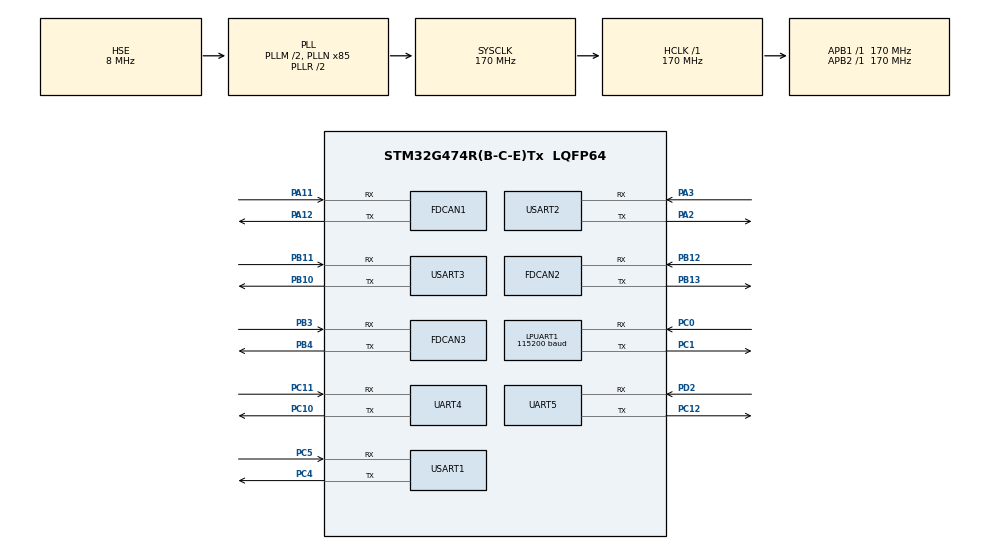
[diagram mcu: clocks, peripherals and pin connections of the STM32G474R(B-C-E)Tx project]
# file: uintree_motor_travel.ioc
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Dma.LPUART1_RX.2.Direction=DMA_PERIPH_TO_MEMORY
Dma.LPUART1_RX.2.EventEnable=DISABLE
Dma.LPUART1_RX.2.Instance=DMA1_Channel5
Dma.LPUART1_RX.2.MemDataAlignment=DMA_MDATAALIGN_BYTE
Dma.LPUART1_RX.2.MemInc=DMA_MINC_ENABLE
Dma.LPUART1_RX.2.Mode=DMA_NORMAL
Dma.LPUART1_RX.2.PeriphDataAlignment=DMA_PDATAALIGN_BYTE
Dma.LPUART1_RX.2.PeriphInc=DMA_PINC_DISABLE
Dma.LPUART1_RX.2.Polarity=HAL_DMAMUX_REQ_GEN_RISING
Dma.LPUART1_RX.2.Priority=DMA_PRIORITY_LOW
Dma.LPUART1_RX.2.RequestNumber=1
Dma.LPUART1_RX.2.SignalID=NONE
Dma.LPUART1_RX.2.SyncEnable=DISABLE
Dma.LPUART1_RX.2.SyncPolarity=HAL_DMAMUX_SYNC_NO_EVENT
Dma.LPUART1_RX.2.SyncRequestNumber=1
Dma.LPUART1_RX.2.SyncSignalID=NONE
Dma.LPUART1_TX.3.Direction=DMA_MEMORY_TO_PERIPH
Dma.LPUART1_TX.3.EventEnable=DISABLE
Dma.LPUART1_TX.3.Instance=DMA1_Channel6
Dma.LPUART1_TX.3.MemDataAlignment=DMA_MDATAALIGN_BYTE
Dma.LPUART1_TX.3.MemInc=DMA_MINC_ENABLE
Dma.LPUART1_TX.3.Mode=DMA_NORMAL
Dma.LPUART1_TX.3.PeriphDataAlignment=DMA_PDATAALIGN_BYTE
Dma.LPUART1_TX.3.PeriphInc=DMA_PINC_DISABLE
Dma.LPUART1_TX.3.Polarity=HAL_DMAMUX_REQ_GEN_RISING
Dma.LPUART1_TX.3.Priority=DMA_PRIORITY_LOW
Dma.LPUART1_TX.3.RequestNumber=1
Dma.LPUART1_TX.3.SignalID=NONE
Dma.LPUART1_TX.3.SyncEnable=DISABLE
Dma.LPUART1_TX.3.SyncPolarity=HAL_DMAMUX_SYNC_NO_EVENT
Dma.LPUART1_TX.3.SyncRequestNumber=1
Dma.LPUART1_TX.3.SyncSignalID=NONE
Dma.Request0=USART1_RX
Dma.Request1=USART1_TX
Dma.Request2=LPUART1_RX
Dma.Request3=LPUART1_TX
Dma.Request4=UART5_RX
Dma.Request5=USART3_RX
Dma.Request6=USART3_TX
Dma.UART5_RX.4.Direction=DMA_PERIPH_TO_MEMORY
Dma.UART5_RX.4.EventEnable=DISABLE
Dma.UART5_RX.4.Instance=DMA1_Channel1
Dma.UART5_RX.4.MemDataAlignment=DMA_MDATAALIGN_BYTE
Dma.UART5_RX.4.MemInc=DMA_MINC_ENABLE
Dma.UART5_RX.4.Mode=DMA_NORMAL
Dma.UART5_RX.4.PeriphDataAlignment=DMA_PDATAALIGN_BYTE
Dma.UART5_RX.4.PeriphInc=DMA_PINC_DISABLE
Dma.UART5_RX.4.Polarity=HAL_DMAMUX_REQ_GEN_RISING
Dma.UART5_RX.4.Priority=DMA_PRIORITY_LOW
Dma.UART5_RX.4.RequestNumber=1
Dma.UART5_RX.4.SignalID=NONE
Dma.UART5_RX.4.SyncEnable=DISABLE
Dma.UART5_RX.4.SyncPolarity=HAL_DMAMUX_SYNC_NO_EVENT
Dma.UART5_RX.4.SyncRequestNumber=1
Dma.UART5_RX.4.SyncSignalID=NONE
Dma.USART1_RX.0.Direction=DMA_PERIPH_TO_MEMORY
Dma.USART1_RX.0.EventEnable=DISABLE
Dma.USART1_RX.0.Instance=DMA1_Channel3
Dma.USART1_RX.0.MemDataAlignment=DMA_MDATAALIGN_BYTE
Dma.USART1_RX.0.MemInc=DMA_MINC_ENABLE
Dma.USART1_RX.0.Mode=DMA_NORMAL
Dma.USART1_RX.0.PeriphDataAlignment=DMA_PDATAALIGN_BYTE
Dma.USART1_RX.0.PeriphInc=DMA_PINC_DISABLE
Dma.USART1_RX.0.Polarity=HAL_DMAMUX_REQ_GEN_RISING
Dma.USART1_RX.0.Priority=DMA_PRIORITY_LOW
Dma.USART1_RX.0.RequestNumber=1
Dma.USART1_RX.0.SignalID=NONE
Dma.USART1_RX.0.SyncEnable=DISABLE
Dma.USART1_RX.0.SyncPolarity=HAL_DMAMUX_SYNC_NO_EVENT
Dma.USART1_RX.0.SyncRequestNumber=1
Dma.USART1_RX.0.SyncSignalID=NONE
Dma.USART1_TX.1.Direction=DMA_MEMORY_TO_PERIPH
Dma.USART1_TX.1.EventEnable=DISABLE
Dma.USART1_TX.1.Instance=DMA1_Channel4
Dma.USART1_TX.1.MemDataAlignment=DMA_MDATAALIGN_BYTE
Dma.USART1_TX.1.MemInc=DMA_MINC_ENABLE
Dma.USART1_TX.1.Mode=DMA_NORMAL
Dma.USART1_TX.1.PeriphDataAlignment=DMA_PDATAALIGN_BYTE
Dma.USART1_TX.1.PeriphInc=DMA_PINC_DISABLE
Dma.USART1_TX.1.Polarity=HAL_DMAMUX_REQ_GEN_RISING
Dma.USART1_TX.1.Priority=DMA_PRIORITY_LOW
Dma.USART1_TX.1.RequestNumber=1
Dma.USART1_TX.1.SignalID=NONE
Dma.USART1_TX.1.SyncEnable=DISABLE
Dma.USART1_TX.1.SyncPolarity=HAL_DMAMUX_SYNC_NO_EVENT
Dma.USART1_TX.1.SyncRequestNumber=1
Dma.USART1_TX.1.SyncSignalID=NONE
Dma.USART3_RX.5.Direction=DMA_PERIPH_TO_MEMORY
Dma.USART3_RX.5.EventEnable=DISABLE
Dma.USART3_RX.5.Instance=DMA1_Channel2
Dma.USART3_RX.5.MemDataAlignment=DMA_MDATAALIGN_BYTE
Dma.USART3_RX.5.MemInc=DMA_MINC_ENABLE
Dma.USART3_RX.5.Mode=DMA_NORMAL
Dma.USART3_RX.5.PeriphDataAlignment=DMA_PDATAALIGN_BYTE
Dma.USART3_RX.5.PeriphInc=DMA_PINC_DISABLE
Dma.USART3_RX.5.Polarity=HAL_DMAMUX_REQ_GEN_RISING
Dma.USART3_RX.5.Priority=DMA_PRIORITY_LOW
Dma.USART3_RX.5.RequestNumber=1
Dma.USART3_RX.5.SignalID=NONE
Dma.USART3_RX.5.SyncEnable=DISABLE
Dma.USART3_RX.5.SyncPolarity=HAL_DMAMUX_SYNC_NO_EVENT
Dma.USART3_RX.5.SyncRequestNumber=1
Dma.USART3_RX.5.SyncSignalID=NONE
Dma.USART3_TX.6.Direction=DMA_MEMORY_TO_PERIPH
Dma.USART3_TX.6.EventEnable=DISABLE
Dma.USART3_TX.6.Instance=DMA1_Channel7
Dma.USART3_TX.6.MemDataAlignment=DMA_MDATAALIGN_BYTE
Dma.USART3_TX.6.MemInc=DMA_MINC_ENABLE
Dma.USART3_TX.6.Mode=DMA_NORMAL
Dma.USART3_TX.6.PeriphDataAlignment=DMA_PDATAALIGN_BYTE
Dma.USART3_TX.6.PeriphInc=DMA_PINC_DISABLE
Dma.USART3_TX.6.Polarity=HAL_DMAMUX_REQ_GEN_RISING
Dma.USART3_TX.6.Priority=DMA_PRIORITY_LOW
Dma.USART3_TX.6.RequestNumber=1
Dma.USART3_TX.6.SignalID=NONE
Dma.USART3_TX.6.SyncEnable=DISABLE
Dma.USART3_TX.6.SyncPolarity=HAL_DMAMUX_SYNC_NO_EVENT
Dma.USART3_TX.6.SyncRequestNumber=1
Dma.USART3_TX.6.SyncSignalID=NONE
FDCAN1.CalculateBaudRateNominal=1000000
FDCAN1.CalculateTimeBitNominal=1000
FDCAN1.CalculateTimeQuantumNominal=100.0
FDCAN1.DataPrescaler=8
FDCAN1.DataTimeSeg1=10
FDCAN1.DataTimeSeg2=5
FDCAN1.NominalPrescaler=17
FDCAN1.NominalTimeSeg1=6
FDCAN1.NominalTimeSeg2=3
FDCAN2.CalculateBaudRateNominal=1000000
FDCAN2.CalculateTimeBitNominal=1000
FDCAN2.CalculateTimeQuantumNominal=100.0
FDCAN2.DataPrescaler=8
FDCAN2.DataTimeSeg1=10
FDCAN2.DataTimeSeg2=5
FDCAN2.NominalPrescaler=17
FDCAN2.NominalTimeSeg1=6
FDCAN2.NominalTimeSeg2=3
FDCAN3.CalculateBaudRateNominal=1000000
FDCAN3.CalculateTimeBitNominal=1000
FDCAN3.CalculateTimeQuantumNominal=100.0
FDCAN3.DataPrescaler=8
FDCAN3.DataTimeSeg1=10
FDCAN3.DataTimeSeg2=5
FDCAN3.NominalPrescaler=17
FDCAN3.NominalTimeSeg1=6
FDCAN3.NominalTimeSeg2=3
LPUART1.BaudRate=115200
Mcu.Family=STM32G4
Mcu.Name=STM32G474R(B-C-E)Tx
Mcu.Package=LQFP64
NVIC.DMA1_Channel1_IRQn=true\:0\:0\:false\:false\:true\:false\:true\:true
NVIC.DMA1_Channel2_IRQn=true\:0\:0\:false\:false\:true\:false\:true\:true
NVIC.DMA1_Channel3_IRQn=true\:0\:0\:false\:false\:true\:false\:true\:true
NVIC.DMA1_Channel4_IRQn=true\:0\:0\:false\:false\:true\:false\:true\:true
NVIC.DMA1_Channel5_IRQn=true\:0\:0\:false\:false\:true\:false\:true\:true
NVIC.DMA1_Channel6_IRQn=true\:0\:0\:false\:false\:true\:false\:true\:true
NVIC.DMA1_Channel7_IRQn=true\:0\:0\:false\:false\:true\:false\:true\:true
NVIC.FDCAN1_IT0_IRQn=true\:0\:0\:false\:false\:true\:true\:true\:true
NVIC.FDCAN1_IT1_IRQn=true\:0\:0\:false\:false\:true\:true\:true\:true
NVIC.FDCAN2_IT0_IRQn=true\:0\:0\:false\:false\:true\:true\:true\:true
NVIC.FDCAN2_IT1_IRQn=true\:0\:0\:false\:false\:true\:true\:true\:true
NVIC.FDCAN3_IT0_IRQn=true\:0\:0\:false\:false\:true\:true\:true\:true
NVIC.FDCAN3_IT1_IRQn=true\:0\:0\:false\:false\:true\:true\:true\:true
NVIC.LPUART1_IRQn=true\:0\:0\:false\:false\:true\:true\:true\:true
NVIC.PriorityGroup=NVIC_PRIORITYGROUP_4
NVIC.UART4_IRQn=true\:0\:0\:false\:false\:true\:true\:true\:true
NVIC.UART5_IRQn=true\:0\:0\:false\:false\:true\:true\:true\:true
NVIC.USART1_IRQn=true\:0\:0\:false\:false\:true\:true\:true\:true
NVIC.USART2_IRQn=true\:0\:0\:false\:false\:true\:true\:true\:true
NVIC.USART3_IRQn=true\:0\:0\:false\:false\:true\:true\:true\:true
PA11.Mode=FDCAN_Activate
PA11.Signal=FDCAN1_RX
PA12.Mode=FDCAN_Activate
PA12.Signal=FDCAN1_TX
PA13.Mode=Serial_Wire
PA13.Signal=SYS_JTMS-SWDIO
PA14.Mode=Serial_Wire
PA14.Signal=SYS_JTCK-SWCLK
PA2.Mode=Asynchronous
PA2.Signal=USART2_TX
PA3.Mode=Asynchronous
PA3.Signal=USART2_RX
PB10.Mode=Asynchronous
PB10.Signal=USART3_TX
PB11.Mode=Asynchronous
PB11.Signal=USART3_RX
PB12.Mode=FDCAN_Activate
PB12.Signal=FDCAN2_RX
PB13.Mode=FDCAN_Activate
PB13.Signal=FDCAN2_TX
PB3.Mode=FDCAN_Activate
PB3.Signal=FDCAN3_RX
PB4.Mode=FDCAN_Activate
PB4.Signal=FDCAN3_TX
PC0.Mode=Asynchronous
PC0.Signal=LPUART1_RX
PC1.Mode=Asynchronous
PC1.Signal=LPUART1_TX
PC10.Mode=Asynchronous
PC10.Signal=UART4_TX
PC11.Mode=Asynchronous
PC11.Signal=UART4_RX
PC12.Mode=Asynchronous
PC12.Signal=UART5_TX
PC4.Mode=Asynchronous
PC4.Signal=USART1_TX
PC5.Mode=Asynchronous
PC5.Signal=USART1_RX
PD2.Mode=Asynchronous
PD2.Signal=UART5_RX
PF0-OSC_IN.Mode=HSE-External-Oscillator
PF0-OSC_IN.Signal=RCC_OSC_IN
PF1-OSC_OUT.Mode=HSE-External-Oscillator
PF1-OSC_OUT.Signal=RCC_OSC_OUT
ProjectManager.HeapSize=0x400
ProjectManager.StackSize=0x800
ProjectManager.TargetToolchain=MDK-ARM V5.32
RCC.ADC12Freq_Value=170000000
RCC.ADC345Freq_Value=170000000
RCC.AHBFreq_Value=170000000
RCC.APB1Freq_Value=170000000
RCC.APB1TimFreq_Value=170000000
RCC.APB2Freq_Value=170000000
RCC.APB2TimFreq_Value=170000000
RCC.CortexFreq_Value=170000000
RCC.EXTERNAL_CLOCK_VALUE=12288000
RCC.HCLKFreq_Value=170000000
RCC.HSE_VALUE=8000000
RCC.HSI48_VALUE=48000000
RCC.HSI_VALUE=16000000
RCC.LSE_VALUE=32768
RCC.PLLM=RCC_PLLM_DIV2
RCC.PLLN=85
RCC.PLLSourceVirtual=RCC_PLLSOURCE_HSE
RCC.SYSCLKFreq_VALUE=170000000
RCC.SYSCLKSource=RCC_SYSCLKSOURCE_PLLCLK
RCC.USBFreq_Value=170000000
RCC.VCOOutputFreq_Value=340000000
USART1.VirtualMode-Asynchronous=VM_ASYNC
USART2.VirtualMode-Asynchronous=VM_ASYNC
USART3.VirtualMode-Asynchronous=VM_ASYNC
VP_SYS_VS_DBSignals.Mode=DisableDeadBatterySignals
board=custom

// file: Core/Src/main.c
/* USER CODE BEGIN Header */
/**
  ******************************************************************************
  * @file           : main.c
  * @brief          : Main program body
  ******************************************************************************
  * @attention
  *
  * Copyright (c) 2026 STMicroelectronics.
  * All rights reserved.
  *
  * This software is licensed under terms that can be found in the LICENSE file
  * in the root directory of this software component.
  * If no LICENSE file comes with this software, it is provided AS-IS.
  *
  ******************************************************************************
  */
/* USER CODE END Header */
#include "main.h"
#include "dma.h"
#include "fdcan.h"
#include "usart.h"
#include "gpio.h"

/* USER CODE BEGIN Includes */
#include "unitree_driver.h"
//#include "unitree_planner.h"
#include "fdcan_bsp.h"
/* USER CODE END Includes */

void SystemClock_Config(void);

int main(void)
{

  /* MCU Configuration--------------------------------------------------------*/

  /* Reset of all peripherals, Initializes the Flash interface and the Systick. */
  HAL_Init();

  /* Configure the system clock */
  SystemClock_Config();

  /* Initialize all configured peripherals */
  MX_GPIO_Init();
  MX_DMA_Init();
  MX_FDCAN1_Init();
  MX_FDCAN2_Init();
  MX_FDCAN3_Init();
  MX_UART5_Init();
  MX_USART1_UART_Init();
  MX_USART2_UART_Init();
  MX_USART3_UART_Init();
  MX_LPUART1_UART_Init();
  MX_UART4_Init();
  /* USER CODE BEGIN 2 */
	  fdcan_bsp_init();     // CAN总线初始化
  fdcan_bsp_start(&hfdcan1);
  fdcan_bsp_start(&hfdcan2);
  fdcan_bsp_start(&hfdcan3);

    // 3. 设定动作 (模拟)
    // 从 0度 走到 90度，速度 120度/秒
    // 输出端刚度 Kp=60, Kd=1.5 (内部自动转为电机端 Kp~1.5)
//    Unitree_SetTrajectory(&joint1, 0.0f, 3600.0f, 5400.0f, 80.0f, 1.5f);
		uint32_t time[4];
		uint32_t flag = 1;
		time[0] = HAL_GetTick();
		time[1] = time[2] =time[3] = 0;
//		Unitree_Send_Cmd(1, 0.0f, 0.0f, 4.08f, 1.5f, 0.1f);
	// 1. 定义对象
    UnitreePlanner_t joint1;

    // 2. 初始化 (ID = 1)
    Unitree_Init(&joint1, 1);
		Unitree_SetTrajectory(&joint1, 37.0f, 37.0f, 3000.0f, 100.0f, 1.0f);
	/* USER CODE END 2 */

  /* Infinite loop */
  while (1)
  {

    /* USER CODE BEGIN 3 */
		time[0] = HAL_GetTick();
		if(time [0] - time[2]>=1)
		{
    Unitree_UpdateAndSend(&joint1, 0.001f);
			time[2] = time[0];
		}
		if(time[0]-time[1]>=3000)
		{
			if(flag == 1)
			{
    Unitree_SetTrajectory(&joint1, 37.0f, 114.0f, 12600.0f, 900.0f, 6.0f);
				flag=0;
		}else
			{
    Unitree_SetTrajectory(&joint1, 114.0f, 37.0f, 90.0f, 180.0f, 4.0f);
				flag = 1;
			}
						time[1] = time[0];
	}
  }
  /* USER CODE END 3 */
}

void SystemClock_Config(void)
{
  RCC_OscInitTypeDef RCC_OscInitStruct = {0};
  RCC_ClkInitTypeDef RCC_ClkInitStruct = {0};

  /** Configure the main internal regulator output voltage
  */
  HAL_PWREx_ControlVoltageScaling(PWR_REGULATOR_VOLTAGE_SCALE1_BOOST);

  /** Initializes the RCC Oscillators according to the specified parameters
  * in the RCC_OscInitTypeDef structure.
  */
  RCC_OscInitStruct.OscillatorType = RCC_OSCILLATORTYPE_HSE;
  RCC_OscInitStruct.HSEState = RCC_HSE_ON;
  RCC_OscInitStruct.PLL.PLLState = RCC_PLL_ON;
  RCC_OscInitStruct.PLL.PLLSource = RCC_PLLSOURCE_HSE;
  RCC_OscInitStruct.PLL.PLLM = RCC_PLLM_DIV2;
  RCC_OscInitStruct.PLL.PLLN = 85;
  RCC_OscInitStruct.PLL.PLLP = RCC_PLLP_DIV2;
  RCC_OscInitStruct.PLL.PLLQ = RCC_PLLQ_DIV2;
  RCC_OscInitStruct.PLL.PLLR = RCC_PLLR_DIV2;
  if (HAL_RCC_OscConfig(&RCC_OscInitStruct) != HAL_OK)
  {
    Error_Handler();
  }

  /** Initializes the CPU, AHB and APB buses clocks
  */
  RCC_ClkInitStruct.ClockType = RCC_CLOCKTYPE_HCLK|RCC_CLOCKTYPE_SYSCLK
                              |RCC_CLOCKTYPE_PCLK1|RCC_CLOCKTYPE_PCLK2;
  RCC_ClkInitStruct.SYSCLKSource = RCC_SYSCLKSOURCE_PLLCLK;
  RCC_ClkInitStruct.AHBCLKDivider = RCC_SYSCLK_DIV1;
  RCC_ClkInitStruct.APB1CLKDivider = RCC_HCLK_DIV1;
  RCC_ClkInitStruct.APB2CLKDivider = RCC_HCLK_DIV1;

  if (HAL_RCC_ClockConfig(&RCC_ClkInitStruct, FLASH_LATENCY_4) != HAL_OK)
  {
    Error_Handler();
  }
}

void Error_Handler(void)
{
  __disable_irq();
  while (1)
  {
  }
}
